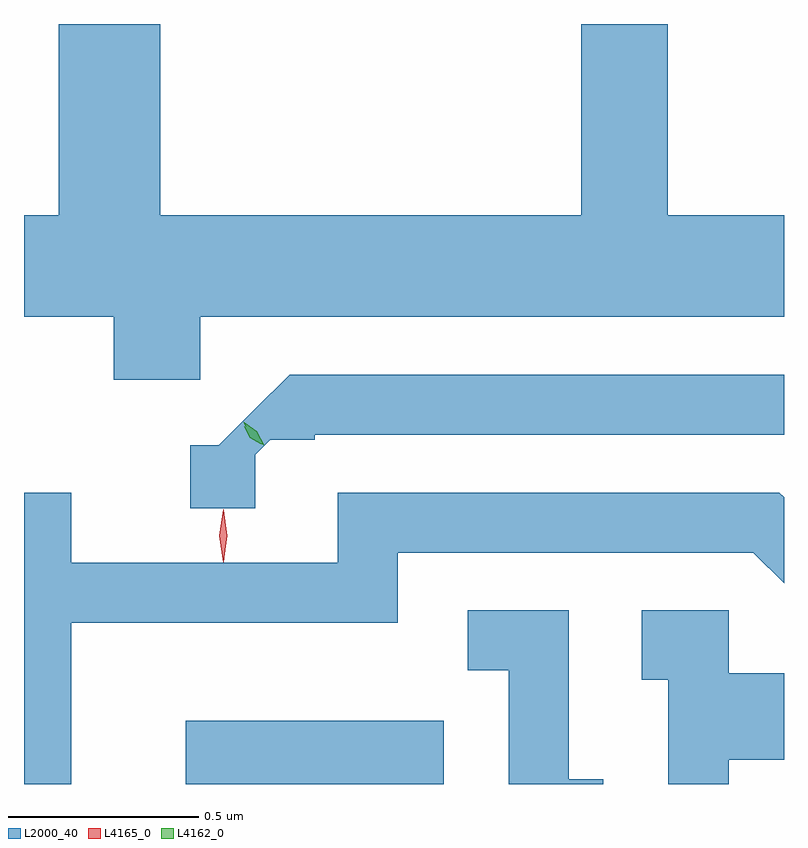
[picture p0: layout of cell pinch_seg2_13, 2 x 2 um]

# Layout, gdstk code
import gdstk
lib = gdstk.Library(unit=1e-6, precision=1e-09)
def R(c, l, rs):  # rectangles x0, y0, x1, y1
    for r in rs: c.add(gdstk.rectangle(r[:2], r[2:], *l))
def P(c, l, *ps):  # polygons
    for p in ps: c.add(gdstk.Polygon(p, *l))
L2000_40 = (2000, 40)
L4162_0 = (4162, 0)
L4165_0 = (4165, 0)

pinch_seg2_13 = lib.new_cell('pinch_seg2_13')
R(pinch_seg2_13, L2000_40, [(1903.721,1073.727,1904.399,1073.894)])
P(pinch_seg2_13, L2000_40, [(1903.759,1074.956),(1905.295,1074.956),(1905.295,1075.224),(1904.989,1075.224),(1904.989,1075.727),(1904.761,1075.727),(1904.761,1075.224),(1903.654,1075.224),(1903.654,1075.727),(1903.386,1075.727),(1903.386,1075.224),(1903.295,1075.224),(1903.295,1074.956),(1903.531,1074.956),(1903.531,1074.791),(1903.759,1074.791)],
  [(1903.904,1074.594),(1903.943,1074.633),(1904.06,1074.633),(1904.06,1074.646),(1905.295,1074.646),(1905.295,1074.804),(1903.994,1074.804),(1903.9,1074.71),(1903.899,1074.711),(1903.807,1074.619),(1903.733,1074.619),(1903.733,1074.453),(1903.904,1074.453)],
  [(1903.419,1074.151),(1904.279,1074.151),(1904.279,1074.336),(1905.214,1074.336),(1905.295,1074.255),(1905.295,1074.481),(1905.282,1074.494),(1904.121,1074.494),(1904.121,1074.309),(1903.419,1074.309),(1903.419,1074.494),(1903.295,1074.494),(1903.295,1073.727),(1903.419,1073.727)],
  [(1904.819,1073.739),(1904.729,1073.739),(1904.729,1074.184),(1904.463,1074.184),(1904.463,1074.026),(1904.571,1074.026),(1904.571,1073.727),(1904.819,1073.727)],
  [(1905.149,1073.791),(1905.295,1073.791),(1905.295,1074.019),(1905.149,1074.019),(1905.149,1074.184),(1904.921,1074.184),(1904.921,1074.001),(1904.991,1074.001),(1904.991,1073.727),(1905.149,1073.727)])
P(pinch_seg2_13, L4162_0, [(1903.926,1074.618),(1903.892,1074.642),(1903.873,1074.678),(1903.873,1074.679),(1903.874,1074.679),(1903.907,1074.655),(1903.927,1074.619),(1903.927,1074.618)],
  [(1903.919,1074.621),(1903.889,1074.638),(1903.874,1074.668),(1903.874,1074.669),(1903.874,1074.669),(1903.904,1074.652),(1903.919,1074.622),(1903.919,1074.621)])
P(pinch_seg2_13, L4165_0, [(1903.819,1074.31),(1903.819,1074.311),(1903.809,1074.38),(1903.819,1074.449),(1903.819,1074.45),(1903.82,1074.449),(1903.829,1074.38),(1903.82,1074.311)],
  [(1903.82,1074.313),(1903.82,1074.314),(1903.81,1074.38),(1903.82,1074.446),(1903.82,1074.447),(1903.821,1074.446),(1903.83,1074.38),(1903.821,1074.314)])

lib.write_gds('pinch_seg2_13.gds')
